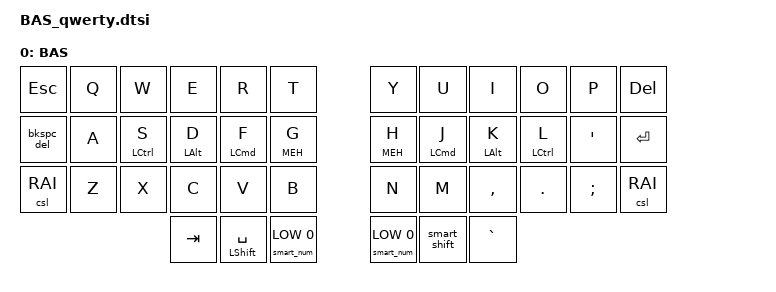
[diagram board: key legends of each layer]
/**
 * Alpha Layer - QWERTY
 */

/ {
  keymap {
    compatible = "zmk,keymap";

    qwerty_layer {
      display-name = "BAS";
      bindings = <
// ╭───────────────┬───────────────┬───────────────┬───────────────┬───────────────┬───────────────╮   ╭───────────────┬───────────────┬───────────────┬───────────────┬───────────────┬───────────────╮
// │0              │1              │2              │3              │4              │5              │   │6              │7              │8              │9              │10             │11             │
    &kp ESC         &kp Q           &kp W           &kp E           &kp R           &kp T               &kp Y           &kp U           &kp I           &kp O           &kp P           &kp DELETE
// ├───────────────├───────────────┼───────────────┼───────────────┼───────────────┼───────────────┤   ├───────────────├───────────────┼───────────────┼───────────────┼───────────────┼───────────────┤
// │12             │13             │14             │15             │16             │17             │   │18             │19             │20             │21             │22             │23             │
    &bkspc_del      &kp A           &hrml LCTRL S   &hrml LALT D    &hrml LCMD F    &hrml MEH G         &hrmr MEH H     &hrmr LCMD J    &hrmr LALT K    &hrmr LCTRL L   &kp SQT         &kp ENTER
// ├───────────────├───────────────┼───────────────┼───────────────┼───────────────┼───────────────┤   ├───────────────├───────────────┼───────────────┼───────────────┼───────────────┼───────────────┤
// │24             │25             │26             │27             │28             │29             │   │30             │31             │32             │33             │34             │35             │
    &csl RAI         &kp Z           &kp X           &kp C           &kp V           &kp B               &kp N           &kp M           &kp COMMA       &kp DOT         &kp SEMICOLON   &csl RAI
// ╰───────────────┴───────────────┴───────────────┼───────────────┼───────────────┼───────────────┤   ├───────────────├───────────────┼───────────────┼───────────────┴───────────────┴───────────────╯
//                                                 │36             │37             │38             │   │39             │40             │41             │
                                                    &kp TAB         &mt LSHFT SPACE &smart_num LOW 0     &smart_num LOW 0 &smart_shift    &kp GRAVE
//                                                 ╰───────────────┴───────────────┴───────────────╯   ╰───────────────┴───────────────┴───────────────╯
      >;
    };
  };
};
